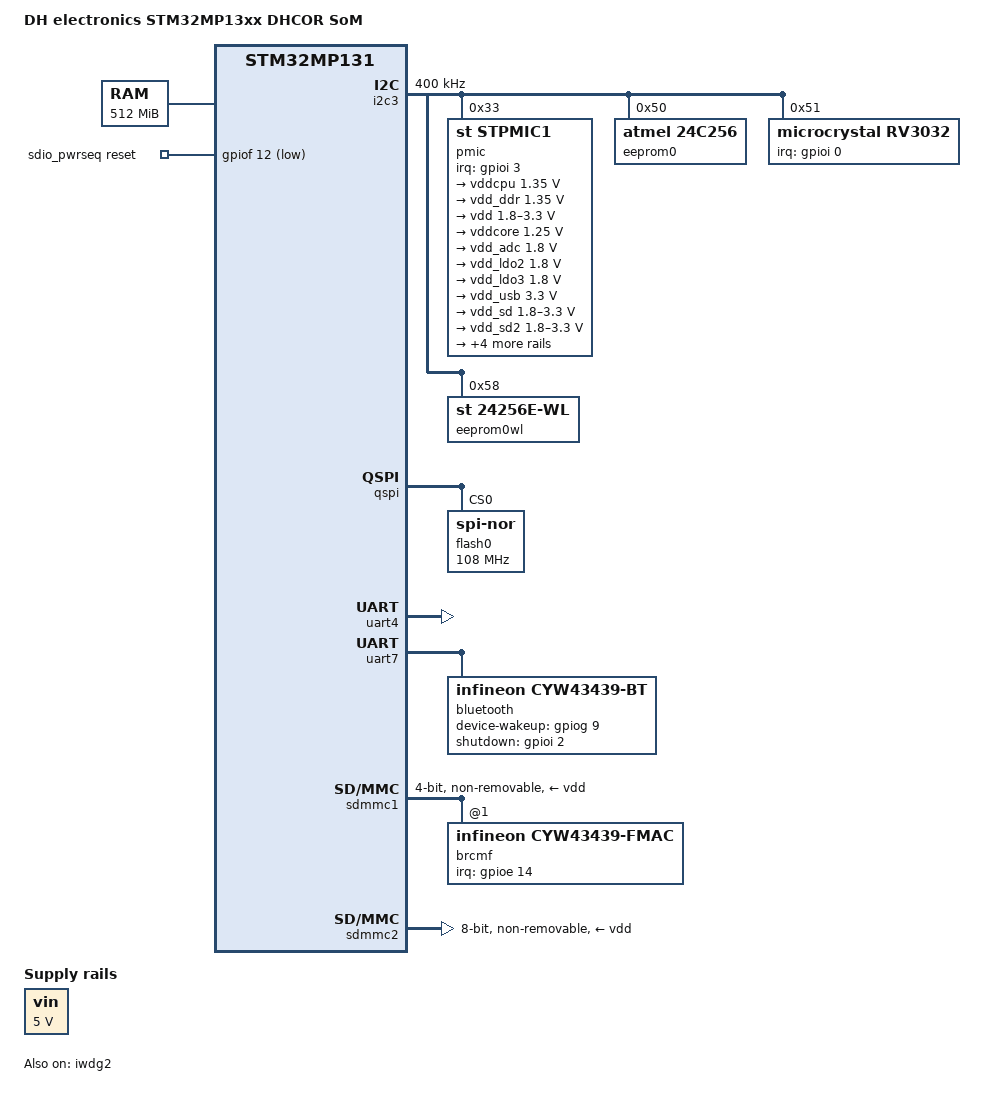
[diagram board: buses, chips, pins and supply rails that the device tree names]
// SPDX-License-Identifier: (GPL-2.0+ OR BSD-3-Clause)
/*
 * Copyright (C) 2024 Marek Vasut <marex@denx.de>
 */

#include <dt-bindings/gpio/gpio.h>
#include <dt-bindings/input/input.h>
#include <dt-bindings/leds/common.h>
#include <dt-bindings/mfd/st,stpmic1.h>
#include <dt-bindings/regulator/st,stm32mp13-regulator.h>
#include "stm32mp13-pinctrl.dtsi"

/ {
	model = "DH electronics STM32MP13xx DHCOR SoM";
	compatible = "dh,stm32mp131a-dhcor-som",
		     "st,stm32mp131";

	aliases {
		mmc0 = &sdmmc2;
		mmc1 = &sdmmc1;
		serial0 = &uart4;
		serial1 = &uart7;
		rtc0 = &rv3032;
		spi0 = &qspi;
	};

	memory@c0000000 {
		device_type = "memory";
		reg = <0xc0000000 0x20000000>;
	};

	reserved-memory {
		#address-cells = <1>;
		#size-cells = <1>;
		ranges;

		optee@dd000000 {
			reg = <0xdd000000 0x3000000>;
			no-map;
		};
	};

	sdio_pwrseq: sdio-pwrseq {
		compatible = "mmc-pwrseq-simple";
		reset-gpios = <&gpiof 12 GPIO_ACTIVE_LOW>;
	};

	vin: vin {
		compatible = "regulator-fixed";
		regulator-name = "vin";
		regulator-min-microvolt = <5000000>;
		regulator-max-microvolt = <5000000>;
		regulator-always-on;
	};
};

&i2c3 {
	i2c-scl-rising-time-ns = <96>;
	i2c-scl-falling-time-ns = <3>;
	clock-frequency = <400000>;
	status = "okay";
	/* spare dmas for other usage */
	/delete-property/dmas;
	/delete-property/dma-names;

	pmic: stpmic@33 {
		compatible = "st,stpmic1";
		reg = <0x33>;
		interrupts-extended = <&gpioi 3 IRQ_TYPE_EDGE_FALLING>;
		interrupt-controller;
		#interrupt-cells = <2>;
		status = "okay";

		regulators {
			compatible = "st,stpmic1-regulators";

			ldo1-supply = <&vin>;
			ldo2-supply = <&vin>;
			ldo3-supply = <&vin>;
			ldo4-supply = <&vin>;
			ldo5-supply = <&vin>;
			ldo6-supply = <&vin>;
			pwr_sw1-supply = <&bst_out>;
			pwr_sw2-supply = <&bst_out>;

			vddcpu: buck1 { /* VDD_CPU_1V2 */
				regulator-name = "vddcpu";
				regulator-min-microvolt = <1350000>;
				regulator-max-microvolt = <1350000>;
				regulator-always-on;
				regulator-initial-mode = <0>;
				regulator-over-current-protection;
			};

			vdd_ddr: buck2 { /* VDD_DDR_1V35 */
				regulator-name = "vdd_ddr";
				regulator-min-microvolt = <1350000>;
				regulator-max-microvolt = <1350000>;
				regulator-always-on;
				regulator-initial-mode = <0>;
				regulator-over-current-protection;
			};

			vdd: buck3 { /* VDD_3V3_1V8 */
				regulator-name = "vdd";
				regulator-min-microvolt = <1800000>;
				regulator-max-microvolt = <3300000>;
				regulator-always-on;
				regulator-initial-mode = <0>;
				regulator-over-current-protection;
			};

			vddcore: buck4 { /* VDD_CORE_1V2 */
				regulator-name = "vddcore";
				regulator-min-microvolt = <1250000>;
				regulator-max-microvolt = <1250000>;
				regulator-always-on;
				regulator-initial-mode = <0>;
				regulator-over-current-protection;
			};

			vdd_adc: ldo1 { /* VDD_ADC_1V8 */
				regulator-name = "vdd_adc";
				regulator-min-microvolt = <1800000>;
				regulator-max-microvolt = <1800000>;
				interrupts = <IT_CURLIM_LDO1 0>;
			};

			vdd_ldo2: ldo2 { /* LDO2_OUT_1V8 */
				regulator-name = "vdd_ldo2";
				regulator-min-microvolt = <1800000>;
				regulator-max-microvolt = <1800000>;
				interrupts = <IT_CURLIM_LDO2 0>;
			};

			vdd_ldo3: ldo3 { /* LDO3_OUT */
				regulator-name = "vdd_ldo3";
				regulator-min-microvolt = <1800000>;
				regulator-max-microvolt = <1800000>;
				interrupts = <IT_CURLIM_LDO3 0>;
			};

			vdd_usb: ldo4 { /* VDD_USB_3V3 */
				regulator-name = "vdd_usb";
				regulator-min-microvolt = <3300000>;
				regulator-max-microvolt = <3300000>;
				interrupts = <IT_CURLIM_LDO4 0>;
			};

			vdd_sd: ldo5 { /* VDD_SD_3V3_1V8 */
				regulator-name = "vdd_sd";
				regulator-min-microvolt = <1800000>;
				regulator-max-microvolt = <3300000>;
				interrupts = <IT_CURLIM_LDO5 0>;
			};

			vdd_sd2: ldo6 { /* VDD_SD2_3V3_1V8 */
				regulator-name = "vdd_sd2";
				regulator-min-microvolt = <1800000>;
				regulator-max-microvolt = <3300000>;
				interrupts = <IT_CURLIM_LDO6 0>;
			};

			vref_ddr: vref_ddr { /* VREF_DDR_0V675 */
				regulator-name = "vref_ddr";
				regulator-always-on;
			};

			bst_out: boost { /* BST_OUT_5V2 */
				regulator-name = "bst_out";
			};

			vbus_otg: pwr_sw1 {
				regulator-name = "vbus_otg";
				interrupts = <IT_OCP_OTG 0>;
			};

			vbus_sw: pwr_sw2 {
				regulator-name = "vbus_sw";
				interrupts = <IT_OCP_SWOUT 0>;
				regulator-active-discharge = <1>;
			};
		};

		onkey {
			compatible = "st,stpmic1-onkey";
			interrupts = <IT_PONKEY_F 0>, <IT_PONKEY_R 1>;
			interrupt-names = "onkey-falling", "onkey-rising";
			status = "okay";
		};

		watchdog {
			compatible = "st,stpmic1-wdt";
			status = "disabled";
		};
	};

	eeprom0: eeprom@50 {
		compatible = "atmel,24c256";	/* ST M24256 */
		reg = <0x50>;
		pagesize = <64>;
	};

	rv3032: rtc@51 {
		compatible = "microcrystal,rv3032";
		reg = <0x51>;
		interrupts-extended = <&gpioi 0 IRQ_TYPE_EDGE_FALLING>;
	};

	eeprom0wl: eeprom@58 {
		compatible = "st,24256e-wl";	/* ST M24256E WL page of 0x50 */
		pagesize = <64>;
		reg = <0x58>;
	};
};

&iwdg2 {
	timeout-sec = <32>;
	status = "okay";
};

&qspi {
	pinctrl-names = "default", "sleep";
	pinctrl-0 = <&qspi_clk_pins_a
		     &qspi_bk1_pins_a
		     &qspi_cs1_pins_a>;
	pinctrl-1 = <&qspi_clk_sleep_pins_a
		     &qspi_bk1_sleep_pins_a
		     &qspi_cs1_sleep_pins_a>;
	#address-cells = <1>;
	#size-cells = <0>;
	status = "okay";

	flash0: flash@0 {
		compatible = "jedec,spi-nor";
		reg = <0>;
		spi-rx-bus-width = <4>;
		spi-max-frequency = <108000000>;
		#address-cells = <1>;
		#size-cells = <1>;
	};
};

/* Console UART */
&uart4 {
	pinctrl-names = "default", "sleep", "idle";
	pinctrl-0 = <&uart4_pins_b>;
	pinctrl-1 = <&uart4_sleep_pins_b>;
	pinctrl-2 = <&uart4_idle_pins_b>;
	/delete-property/dmas;
	/delete-property/dma-names;
	status = "okay";
};

/* Bluetooth */
&uart7 {
	pinctrl-names = "default", "sleep", "idle";
	pinctrl-0 = <&uart7_pins_a>;
	pinctrl-1 = <&uart7_sleep_pins_a>;
	pinctrl-2 = <&uart7_idle_pins_a>;
	uart-has-rtscts;
	status = "okay";

	bluetooth {
		compatible = "infineon,cyw43439-bt", "brcm,bcm4329-bt";
		max-speed = <3000000>;
		device-wakeup-gpios = <&gpiog 9 GPIO_ACTIVE_HIGH>;
		shutdown-gpios = <&gpioi 2 GPIO_ACTIVE_HIGH>;
	};
};

/* SDIO WiFi */
&sdmmc1 {
	pinctrl-names = "default", "opendrain", "sleep";
	pinctrl-0 = <&sdmmc1_b4_pins_a &sdmmc1_clk_pins_a>;
	pinctrl-1 = <&sdmmc1_b4_od_pins_a &sdmmc1_clk_pins_a>;
	pinctrl-2 = <&sdmmc1_b4_sleep_pins_a>;
	bus-width = <4>;
	cap-power-off-card;
	keep-power-in-suspend;
	non-removable;
	st,neg-edge;
	vmmc-supply = <&vdd>;
	mmc-pwrseq = <&sdio_pwrseq>;
	status = "okay";

	#address-cells = <1>;
	#size-cells = <0>;

	brcmf: bcrmf@1 {	/* muRata 1YN */
		reg = <1>;
		compatible = "infineon,cyw43439-fmac", "brcm,bcm4329-fmac";
		interrupt-parent = <&gpioe>;
		interrupts = <14 IRQ_TYPE_LEVEL_LOW>;
		interrupt-names = "host-wake";
	};
};

/* eMMC */
&sdmmc2 {
	pinctrl-names = "default", "opendrain", "sleep";
	pinctrl-0 = <&sdmmc2_b4_pins_a &sdmmc2_d47_pins_a &sdmmc2_clk_pins_a>;
	pinctrl-1 = <&sdmmc2_b4_od_pins_a &sdmmc2_d47_pins_a &sdmmc2_clk_pins_a>;
	pinctrl-2 = <&sdmmc2_b4_sleep_pins_a &sdmmc2_d47_sleep_pins_a>;
	bus-width = <8>;
	mmc-ddr-3_3v;
	no-sd;
	no-sdio;
	non-removable;
	st,neg-edge;
	vmmc-supply = <&vdd>;
	vqmmc-supply = <&vdd>;
	status = "okay";
};
